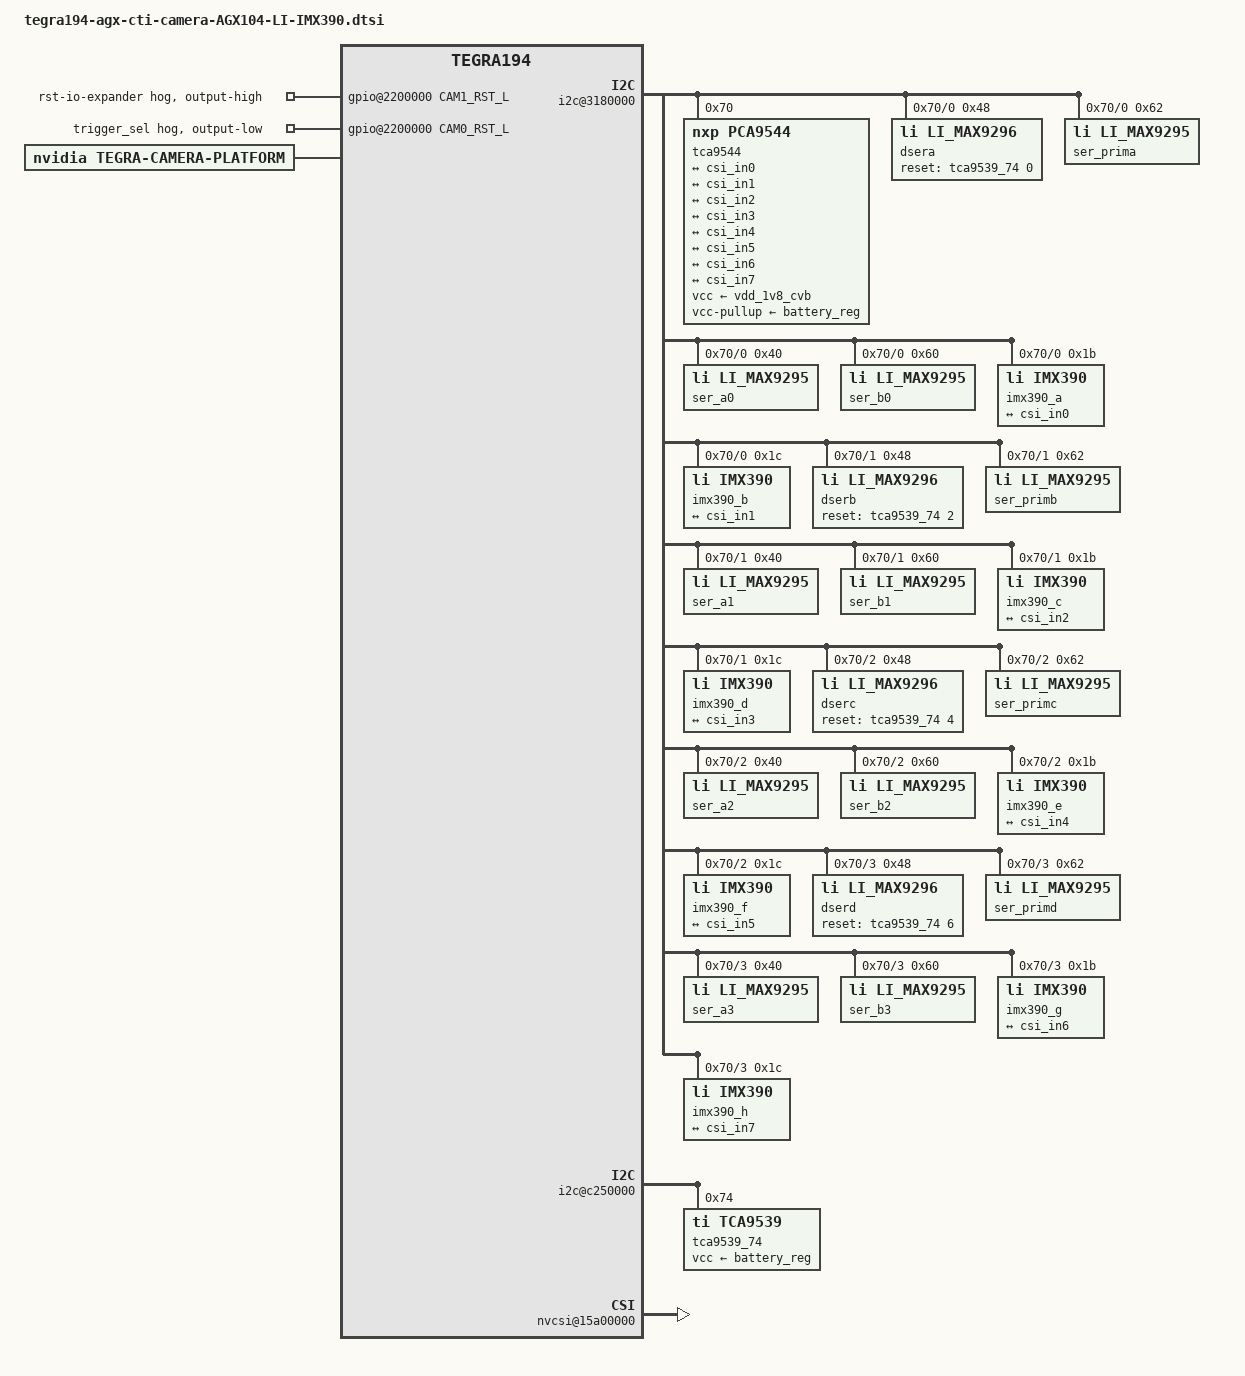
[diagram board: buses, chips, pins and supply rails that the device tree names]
/*
 * Copyright (c) 2018, NVIDIA CORPORATION.  All rights reserved.
 *
 * This program is free software; you can redistribute it and/or modify
 * it under the terms of the GNU General Public License as published by
 * the Free Software Foundation; either version 2 of the License, or
 * (at your option) any later version.
 *
 * This program is distributed in the hope that it will be useful, but WITHOUT
 * ANY WARRANTY; without even the implied warranty of MERCHANTABILITY or
 * FITNESS FOR A PARTICULAR PURPOSE.  See the GNU General Public License for
 * more details.
 *
 * You should have received a copy of the GNU General Public License
 * along with this program.  If not, see <http://www.gnu.org/licenses/>.
 */

#include "dt-bindings/clock/tegra194-clock.h"

#define CAM0_RST_L	TEGRA194_MAIN_GPIO(H, 3)
#define CAM1_RST_L	TEGRA194_MAIN_GPIO(T, 6)

#define CAMERA_I2C_MUX_BUS(x) (0x1E + x)
#define CAM_LANES 4
#define CAM_LANES_STRING "4" 
#define TEGRA_SINTERFACE "serial_g"
#define MODE_VC "0"
#define SERDES_PIX_CLK_HZ "480000000" 
//"590000000"

                                        
#define IMX390_MODE0 \
		mclk_khz = "24000"; \
		discontinuous_clk = "no"; \
		dpcm_enable = "false"; \
		cil_settletime = "0"; \
		dynamic_pixel_bit_depth = "12"; \
		csi_pixel_bit_depth = "12"; \
		mode_type = "bayer"; \
		pixel_phase = "rggb"; \
		active_w = "1920"; \
		active_h = "1080"; \
		readout_orientation = "0"; \
		line_length = "2200"; \
		inherent_gain = "1"; \
		pix_clk_hz = "74250000"; \
		serdes_pix_clk_hz = SERDES_PIX_CLK_HZ; \
		gain_factor = "10"; \
		min_gain_val = "0";  \
		max_gain_val = "300"; \
		step_gain_val = "3"; \
		default_gain = "0"; \
		min_hdr_ratio = "1"; \
		max_hdr_ratio = "1"; \
		framerate_factor = "1000000"; \
		min_framerate = "30000000"; \
		max_framerate = "30000000"; \
		step_framerate = "1"; \
		default_framerate = "30000000"; \
		exposure_factor = "1000000"; \
		min_exp_time = "118"; \
		max_exp_time = "33333"; \
		step_exp_time = "1"; \
		default_exp_time = "33333"; \
		embedded_metadata_height = "0"; \

/ {
	gpio@2200000 {
		camera-control-output-high {
			status = "okay";
			gpio-hog;
			gpios = <CAM1_RST_L 0>;
			output-high;
			label = "rst-io-expander"; 
		};
		camera-control-output-low {
			status = "okay";
			gpio-hog;
			gpios = <CAM0_RST_L 0>;
			output-low;
			label = "trigger_sel";
		};
	};

	i2c@3180000 {
		status = "okay";
		#address-cells = <1>;
		#size-cells = <0>;
        
		tca9544@70 {
	    	status = "okay";
	    	compatible = "nxp,pca9544";
	    	reg = <0x70>;
	    	#address-cells = <1>;
	    	#size-cells = <0>;
	    	vcc-supply = <&vdd_1v8_cvb>;
	    	vcc-pullup-supply = <&battery_reg>;
	    	vcc_lp = "vcc";
	    	skip_mux_detect = "yes";
	    	force_bus_start = <40>;
        	i2c@0 {
        	    status = "okay";
				reg = <0>;
				i2c-mux,deselect-on-exit;
				#address-cells = <1>;
				#size-cells = <0>;

				dsera: li_max9296@48 {
					compatible = "li,li_max9296";
					reg = <0x48>;
					csi-mode = "2x4";
					max-src = <2>;
					status = "okay";
					reset-gpios = <&tca9539_74 0 GPIO_ACTIVE_HIGH>;
					//reset-gpios
				};
				ser_prima: li_max9295_prim@62 {
					compatible = "li,li_max9295";
					reg = <0x62>;
					is-prim-ser;
					status = "okay";
				};
				ser_a0: li_max9295_a@40 {
					compatible = "li,li_max9295";
					reg = <0x40>;
					nvidia,gmsl-dser-device = <&dsera>;
					status = "okay";
				};

				ser_b0: li_max9295_b@60 {
					compatible = "li,li_max9295";
					reg = <0x60>;
					nvidia,gmsl-dser-device = <&dsera>;
					status = "okay";
				};

				imx390_a@1b {
					def-addr = <0x21>;
					clocks = <&bpmp_clks TEGRA194_CLK_EXTPERIPH1>, <&bpmp_clks TEGRA194_CLK_EXTPERIPH1>;
					clock-names = "extperiph1", "pllp_grtba";
					mclk = "extperiph1";
					nvidia,gmsl-ser-device = <&ser_a0>;
					nvidia,gmsl-dser-device = <&dsera>;
					compatible = "li,imx390";
					reg = <0x1b>;
					reg_mux = <0>;

					physical_w = "15.0";
					physical_h = "12.5";
					sensor_model = "imx390";
					post_crop_frame_drop = "0";
					use_decibel_gain = "true";
					use_sensor_mode_id = "true";

					status = "okay";

					mode0 {
						IMX390_MODE0
						tegra_sinterface = "serial_a";
						num_lanes = "4";
						//mode_lanes = <4>;
						vc_id = "0";
					};

					ports {
						#address-cells = <1>;
						#size-cells = <0>;
						port@0{
							reg = <0>;
							cam_out0: endpoint {
								vc-id = <0>;
								port-index = <6>;
								bus-width = <CAM_LANES>;
								remote-endpoint = <&csi_in0>;

							};
						};
					};
					gmsl-link {
						src-csi-port = "b";
						dst-csi-port = "a";
						serdes-csi-link = "a";
						csi-mode = "1x4";
						st-vc = <0>;
						vc-id = <0>;
						num-lanes = <CAM_LANES>;
						streams = "ued-u1","raw12";

					};
				};

				imx390_b@1c {
					def-addr = <0x21>;
					clocks = <&bpmp_clks TEGRA194_CLK_EXTPERIPH1>, <&bpmp_clks TEGRA194_CLK_EXTPERIPH1>;
					clock-names = "extperiph1", "pllp_grtba";
					mclk = "extperiph1";
					compatible = "li,imx390";
					nvidia,gmsl-ser-device = <&ser_b0>;
					nvidia,gmsl-dser-device = <&dsera>;
					reg = <0x1c>;
					reg_mux = <0>;

					physical_w = "15.0";
					physical_h = "12.5";
					sensor_model = "imx390";
					post_crop_frame_drop = "0";
					use_decibel_gain = "true";
					use_sensor_mode_id = "true";

					status = "okay";
					mode0 {
						IMX390_MODE0
						tegra_sinterface = "serial_a";
						num_lanes = "4";
						//mode_lanes = <4>;
						vc_id = "1";
					};
					ports {
						#address-cells = <1>;
						#size-cells = <0>;
						port@0{
							reg = <0>;
							cam_out1: endpoint {
								vc-id = <0>;
								port-index = <6>;
								bus-width = <CAM_LANES>;
								remote-endpoint = <&csi_in1>;

							};
						};
					};
					gmsl-link {
						src-csi-port = "b";
						dst-csi-port = "a";
						serdes-csi-link = "b";
						csi-mode = "1x4";
						st-vc = <0>;
						vc-id = <1>;
						num-lanes = <CAM_LANES>;
						streams = "ued-u1","raw12";

					};
				};
        	};

	    	i2c@1 {
				status = "okay";
				reg = <1>;
				i2c-mux,deselect-on-exit;
				#address-cells = <1>;
				#size-cells = <0>;
				dserb: li_max9296@48 {
					compatible = "li,li_max9296";
					reg = <0x48>;
					csi-mode = "2x4";
					max-src = <2>;
					status = "okay";
					reset-gpios = <&tca9539_74 2 GPIO_ACTIVE_HIGH>;
				};
				ser_primb: li_max9295_prim@62 {
					compatible = "li,li_max9295";
					reg = <0x62>;
					is-prim-ser;
					status = "okay";
				};
				ser_a1: li_max9295_a@40 {
					compatible = "li,li_max9295";
					reg = <0x40>;
					nvidia,gmsl-dser-device = <&dserb>;
					status = "okay";
				};

				ser_b1: li_max9295_b@60 {
					compatible = "li,li_max9295";
					reg = <0x60>;
					nvidia,gmsl-dser-device = <&dserb>;
					status = "okay";
				};

				imx390_c@1b {
					def-addr = <0x21>;
					clocks = <&bpmp_clks TEGRA194_CLK_EXTPERIPH1>, <&bpmp_clks TEGRA194_CLK_EXTPERIPH1>;
					clock-names = "extperiph1", "pllp_grtba";
					mclk = "extperiph1";
					nvidia,gmsl-ser-device = <&ser_a1>;
					nvidia,gmsl-dser-device = <&dserb>;
					compatible = "li,imx390";
					reg = <0x1b>;
					reg_mux = <1>;

					physical_w = "15.0";
					physical_h = "12.5";
					sensor_model = "imx390";
					post_crop_frame_drop = "0";
					use_decibel_gain = "true";
					use_sensor_mode_id = "true";

					status = "okay";

					mode0 {
						IMX390_MODE0
						tegra_sinterface = "serial_c";
						num_lanes = "4";
						//mode_lanes = <4>;
						vc_id = "0";
					};

					ports {
						#address-cells = <1>;
						#size-cells = <0>;
						port@0{
							reg = <0>;
							cam_out2: endpoint {
								vc-id = <0>;
								port-index = <4>;
								bus-width = <CAM_LANES>;
								remote-endpoint = <&csi_in2>;

							};
						};
					};
					gmsl-link {
						src-csi-port = "b";
						dst-csi-port = "a";
						serdes-csi-link = "a";
						csi-mode = "1x4";
						st-vc = <0>;
						vc-id = <0>;
						num-lanes = <CAM_LANES>;
						streams = "ued-u1","raw12";

					};
				};

				imx390_d@1c {
					def-addr = <0x21>;
					clocks = <&bpmp_clks TEGRA194_CLK_EXTPERIPH1>, <&bpmp_clks TEGRA194_CLK_EXTPERIPH1>;
					clock-names = "extperiph1", "pllp_grtba";
					mclk = "extperiph1";
					compatible = "li,imx390";
					nvidia,gmsl-ser-device = <&ser_b1>;
					nvidia,gmsl-dser-device = <&dserb>;
					reg = <0x1c>;
					reg_mux = <1>;

					physical_w = "15.0";
					physical_h = "12.5";
					sensor_model = "imx390";
					post_crop_frame_drop = "0";
					use_decibel_gain = "true";
					use_sensor_mode_id = "true";

					status = "okay";
					mode0 {
						IMX390_MODE0
						tegra_sinterface = "serial_c";
						num_lanes = "4";
						//mode_lanes = <4>;
						vc_id = "1";
					};
					ports {
						#address-cells = <1>;
						#size-cells = <0>;
						port@0{
							reg = <0>;
							cam_out3: endpoint {
								vc-id = <1>;
								port-index = <4>;
								bus-width = <CAM_LANES>;
								remote-endpoint = <&csi_in3>;

							};
						};
					};
					gmsl-link {
						src-csi-port = "b";
						dst-csi-port = "a";
						serdes-csi-link = "b";
						csi-mode = "1x4";
						st-vc = <0>;
						vc-id = <1>;
						num-lanes = <CAM_LANES>;
						streams = "ued-u1","raw12";

					};
				};
	    	};


        	i2c@2 {
        	    status = "okay";
        	    reg = <2>;
				i2c-mux,deselect-on-exit;
				#address-cells = <1>;
				#size-cells = <0>;

				dserc: li_max9296@48 {
					compatible = "li,li_max9296";
					reg = <0x48>;
					csi-mode = "2x4";
					max-src = <2>;
					status = "okay";
					reset-gpios = <&tca9539_74 4 GPIO_ACTIVE_HIGH>;
				};
				ser_primc: li_max9295_prim@62 {
					compatible = "li,li_max9295";
					reg = <0x62>;
					is-prim-ser;
					status = "okay";
				};
				ser_a2: li_max9295_a@40 {
					compatible = "li,li_max9295";
					reg = <0x40>;
					nvidia,gmsl-dser-device = <&dserc>;
					status = "okay";
				};

				ser_b2: li_max9295_b@60 {
					compatible = "li,li_max9295";
					reg = <0x60>;
					nvidia,gmsl-dser-device = <&dserc>;
					status = "okay";
				};

				imx390_e@1b {
					def-addr = <0x21>;
					clocks = <&bpmp_clks TEGRA194_CLK_EXTPERIPH1>, <&bpmp_clks TEGRA194_CLK_EXTPERIPH1>;
					clock-names = "extperiph1", "pllp_grtba";
					mclk = "extperiph1";
					nvidia,gmsl-ser-device = <&ser_a2>;
					nvidia,gmsl-dser-device = <&dserc>;
					compatible = "li,imx390";
					reg = <0x1b>;
					reg_mux = <2>;

					physical_w = "15.0";
					physical_h = "12.5";
					sensor_model = "imx390";
					post_crop_frame_drop = "0";
					use_decibel_gain = "true";
					use_sensor_mode_id = "true";

					status = "okay";

					mode0 {
						IMX390_MODE0
						tegra_sinterface = "serial_e";
						num_lanes = "4";
						//mode_lanes = <4>;
						vc_id = "0";
					};

					ports {
						#address-cells = <1>;
						#size-cells = <0>;
						port@0{
							reg = <0>;
							cam_out4: endpoint {
								vc-id = <0>;
								port-index = <2>;
								bus-width = <CAM_LANES>;
								remote-endpoint = <&csi_in4>;

							};
						};
					};
					gmsl-link {
						src-csi-port = "b";
						dst-csi-port = "a";
						serdes-csi-link = "a";
						csi-mode = "1x4";
						st-vc = <0>;
						vc-id = <0>;
						num-lanes = <CAM_LANES>;
						streams = "ued-u1","raw12";

					};
				};

				imx390_f@1c {
					def-addr = <0x21>;
					clocks = <&bpmp_clks TEGRA194_CLK_EXTPERIPH1>, <&bpmp_clks TEGRA194_CLK_EXTPERIPH1>;
					clock-names = "extperiph1", "pllp_grtba";
					mclk = "extperiph1";
					compatible = "li,imx390";
					nvidia,gmsl-ser-device = <&ser_b2>;
					nvidia,gmsl-dser-device = <&dserc>;
					reg = <0x1c>;
					reg_mux = <2>;

					physical_w = "15.0";
					physical_h = "12.5";
					sensor_model = "imx390";
					post_crop_frame_drop = "0";
					use_decibel_gain = "true";
					use_sensor_mode_id = "true";

					status = "okay";
					mode0 {
						IMX390_MODE0
						tegra_sinterface = "serial_e";
						num_lanes = "4";
						//mode_lanes = <4>;
						vc_id = "1";
					};
					ports {
						#address-cells = <1>;
						#size-cells = <0>;
						port@0{
							reg = <0>;
							cam_out5: endpoint {
								vc-id = <1>;
								port-index = <2>;
								bus-width = <CAM_LANES>;
								remote-endpoint = <&csi_in5>;

							};
						};
					};
					gmsl-link {
						src-csi-port = "b";
						dst-csi-port = "a";
						serdes-csi-link = "b";
						csi-mode = "1x4";
						st-vc = <0>;
						vc-id = <1>;
						num-lanes = <CAM_LANES>;
						streams = "ued-u1","raw12";

					};
				};
        	};
	
        	i2c@3 {
        	    status = "okay";
				reg = <3>;
				i2c-mux,deselect-on-exit;
				#address-cells = <1>;
				#size-cells = <0>;
				dserd: li_max9296@48 {
					compatible = "li,li_max9296";
					reg = <0x48>;
					csi-mode = "2x4";
					max-src = <2>;
					status = "okay";
					reset-gpios = <&tca9539_74 6 GPIO_ACTIVE_HIGH>;
				};
				ser_primd: li_max9295_prim@62 {
					compatible = "li,li_max9295";
					reg = <0x62>;
					is-prim-ser;
					status = "okay";
				};
				ser_a3: li_max9295_a@40 {
					compatible = "li,li_max9295";
					reg = <0x40>;
					nvidia,gmsl-dser-device = <&dserd>;
					status = "okay";
				};

				ser_b3: li_max9295_b@60 {
					compatible = "li,li_max9295";
					reg = <0x60>;
					nvidia,gmsl-dser-device = <&dserd>;
					status = "okay";
				};

				imx390_g@1b {
					def-addr = <0x21>;
					clocks = <&bpmp_clks TEGRA194_CLK_EXTPERIPH1>, <&bpmp_clks TEGRA194_CLK_EXTPERIPH1>;
					clock-names = "extperiph1", "pllp_grtba";
					mclk = "extperiph1";
					nvidia,gmsl-ser-device = <&ser_a3>;
					nvidia,gmsl-dser-device = <&dserd>;
					compatible = "li,imx390";
					reg = <0x1b>;
					reg_mux = <3>;

					physical_w = "15.0";
					physical_h = "12.5";
					sensor_model = "imx390";
					post_crop_frame_drop = "0";
					use_decibel_gain = "true";
					use_sensor_mode_id = "true";

					status = "okay";

					mode0 {
						IMX390_MODE0
						tegra_sinterface = "serial_g";
						num_lanes = "4";
						//mode_lanes = <4>;
						vc_id = "0";
					};

					ports {
						#address-cells = <1>;
						#size-cells = <0>;
						port@0{
							reg = <0>;
							cam_out6: endpoint {
								vc-id = <0>;
								port-index = <0>;
								bus-width = <CAM_LANES>;
								remote-endpoint = <&csi_in6>;

							};
						};
					};
					gmsl-link {
						src-csi-port = "b";
						dst-csi-port = "a";
						serdes-csi-link = "a";
						csi-mode = "1x4";
						st-vc = <0>;
						vc-id = <0>;
						num-lanes = <CAM_LANES>;
						streams = "ued-u1","raw12";

					};
				};

				imx390_h@1c {
					def-addr = <0x21>;
					clocks = <&bpmp_clks TEGRA194_CLK_EXTPERIPH1>, <&bpmp_clks TEGRA194_CLK_EXTPERIPH1>;
					clock-names = "extperiph1", "pllp_grtba";
					mclk = "extperiph1";
					compatible = "li,imx390";
					nvidia,gmsl-ser-device = <&ser_b3>;
					nvidia,gmsl-dser-device = <&dserd>;
					reg = <0x1c>;
					reg_mux = <3>;

					physical_w = "15.0";
					physical_h = "12.5";
					sensor_model = "imx390";
					post_crop_frame_drop = "0";
					use_decibel_gain = "true";
					use_sensor_mode_id = "true";

					status = "okay";
					mode0 {
						IMX390_MODE0
						tegra_sinterface = "serial_g";
						num_lanes = "4";
						//mode_lanes = <4>;
						vc_id = "1";
					};
					ports {
						#address-cells = <1>;
						#size-cells = <0>;
						port@0{
							reg = <0>;
							cam_out7: endpoint {
								vc-id = <1>;
								port-index = <0>;
								bus-width = <CAM_LANES>;
								remote-endpoint = <&csi_in7>;

							};
						};
					};
					gmsl-link {
						src-csi-port = "b";
						dst-csi-port = "a";
						serdes-csi-link = "b";
						csi-mode = "1x4";
						st-vc = <0>;
						vc-id = <1>;
						num-lanes = <CAM_LANES>;
						streams = "ued-u1","raw12";
					};
				};			
        	};
        };
    };

    i2c@c250000 {
		status = "okay";
		#address-cells = <1>;
		#size-cells = <0>;
		tca9539_74: tca9539@74 {
			compatible = "ti,tca9539";
			gpio-controller;
			#gpio-cells = <2>;
			ngpios = <16>;
			reg = <0x74>;
			vcc-supply = <&battery_reg>;
			status = "okay";
			
			tca9539_74_outlow {
				status = "okay";
				gpio-hog;
				gpios = <0 0 1 0 2 0 3 0 4 0 5 0 6 0 7 0 8 0 9 0 10 0 11 0 12 0 13 0>;
				output-low;
				label = "RST_A","PWDN_A","RST_B","PWDN_B","RST_C","PWDN_C","RST_D","PWDN_D";
			};
			tca9539_74_outhigh {
				status = "disabled";
			};
			tca9539_74_input {
				status = "disabled";
			};
		};
	};
    tegra-capture-vi {
        status = "okay";
        num-channels = <8>;
        ports {
	    #address-cells = <1>;
	    #size-cells = <0>;
	    status = "okay";
            port@0 {
			reg = <0>;
                status = "okay";
                vi_in0: endpoint {
		    	vc-id = <0>;
                    port-index = <0>;
                    status = "okay";
                    bus-width = <CAM_LANES>;
		    		remote-endpoint = <&csi_out0>;
                };
            };
            port@1 {
                status = "okay";
				reg = <1>;
                vi_in1: endpoint {
		    	vc-id = <1>;
                    port-index = <0>;
                    status = "okay";
                    bus-width = <CAM_LANES>;
		    		remote-endpoint = <&csi_out1>;
                };
            };
	    	port@2 {
				status = "okay";
				reg = <2>;
				vi_in2: endpoint {
					vc-id = <0>;
					port-index = <2>;
					bus-width = <CAM_LANES>;
					remote-endpoint = <&csi_out2>;
					status = "okay";
				};
	    	};
	    	port@3{
				status = "okay";
				reg = <3>;
				vi_in3: endpoint {
					vc-id = <1>;
					port-index = <2>;
					bus-width = <CAM_LANES>;
					remote-endpoint = <&csi_out3>;
					status = "okay";
				};
	    	};
	    	port@4 {
				status = "okay";
				reg = <4>;
				vi_in4: endpoint {
					vc-id = <0>;
					port-index = <4>;
					bus-width = <CAM_LANES>;
					remote-endpoint = <&csi_out4>;
					status = "okay";
				};
	    	};
	    	port@5 {
				status = "okay";
				reg = <5>;
				vi_in5: endpoint {
					vc-id = <1>;
					port-index = <4>;
					bus-width = <CAM_LANES>;
					remote-endpoint = <&csi_out5>;
					status = "okay";
				};
	    	};
            port@6 {
                status = "okay";
				reg = <6>;
                vi_in6: endpoint {
                    port-index = <5>;
                    status = "okay";
                    bus-width = <CAM_LANES>;
		    		vc-id = <0>;
		    		remote-endpoint = <&csi_out6>;
                };
            };
            port@7 {
                status = "okay";
				reg = <7>;
                vi_in7: endpoint {
                    port-index = <5>;
                    status = "okay";
                    bus-width = <CAM_LANES>;
		    		vc-id = <1>;
		    		remote-endpoint = <&csi_out7>;
                };
            };
        };
    };

    host1x@13e00000 {
        nvcsi@15a00000 {
	    	num-channels = <8>;
	    	#address-cells = <1>;
	    	#size-cells = <0>;
            status = "okay";
            channel@0 {
            	status = "okay";
				reg = <0>;
            	ports {
		    		#address-cells = <1>;
		    		#size-cells = <0>;
                    port@0 {
                    	status = "okay";
						reg = <0>;
                    	csi_in0: endpoint@0 {
                    	    status = "okay";
                    	    port-index = <0>;
			    			vc-id = <0>;
			    			bus-width = <CAM_LANES>;
                    	    remote-endpoint = <&cam_out0>;
                    	};
                	};
                    port@1 {
                        status = "okay";
						reg = <1>;
                        csi_out0: endpoint@1 {
                            status = "okay";
			    			port-index = <0>;
			    			vc-id = <0>;
			    			bus-width = <CAM_LANES>;
			    			remote-endpoint = <&vi_in0>;
                        };
                    };
                };
            };
            channel@1 {
                status = "okay";
				reg = <1>;
                ports {
		    		#address-cells = <1>;
		    		#size-cells = <0>;
                    
		    		port@0 {
						reg = <0>;
                        status = "okay";
                        csi_in1: endpoint@2 {
                            status = "okay";
			    			port-index = <0>;
			    			vc-id = <1>;
                            bus-width = <CAM_LANES>;
                            remote-endpoint = <&cam_out1>;
                        };
                    };
                    port@1 {
                        status = "okay";
						reg = <1>;
                        csi_out1: endpoint@3 {
                            status = "okay";
			    			port-index = <0>;
			    			vc-id = <1>;
			    			bus-width = <CAM_LANES>;
			    			remote-endpoint = <&vi_in1>;
                        };
                    };
                };
            };
	    	channel@2 {
                status = "okay";
				reg = <2>;
                ports {
		    		#address-cells = <1>;
		   			#size-cells = <0>;
                    port@0 {
                        status = "okay";
						reg = <0>;
                        csi_in2: endpoint@4 {
                            status = "okay";
                            port-index = <2>;
			    			bus-width = <CAM_LANES>;
                            remote-endpoint = <&cam_out2>;
                        };
                    };
                    port@1 {
                        status = "okay";
						reg = <1>;
                        csi_out2: endpoint@5 {
                            status = "okay";
			    			port-index = <2>;
			    			bus-width = <CAM_LANES>;
			    			remote-endpoint = <&vi_in2>;
                        };
                    };
                };
            };
            channel@3 {
                status = "okay";
				reg = <3>;
                ports {
		    		#address-cells = <1>;
		    		#size-cells = <0>;
                    
		    		port@0 {
						reg = <0>;
                        status = "okay";
                        csi_in3: endpoint@6 {
                            status = "okay";
			    			port-index = <2>;
                            bus-width = <CAM_LANES>;
                            remote-endpoint = <&cam_out3>;
                        };
                    };
                    port@1 {
                        status = "okay";
						reg = <1>;
                        csi_out3: endpoint@7 {
                            status = "okay";
			    			port-index = <2>;
			    			bus-width = <CAM_LANES>;
			    			remote-endpoint = <&vi_in3>;
                        };
                    };
                };
            };
	    	channel@4 {
                status = "okay";
				reg = <4>;
                ports {
		    		#address-cells = <1>;
		    		#size-cells = <0>;
                    port@0 {
                        status = "okay";
						reg = <0>;
                        csi_in4: endpoint@8 {
                            status = "okay";
                            port-index = <4>;
			    			bus-width = <CAM_LANES>;
                            remote-endpoint = <&cam_out4>;
                        };
                    };
                    port@1 {
                        status = "okay";
						reg = <1>;
                        csi_out4: endpoint@9 {
                            status = "okay";
			    			port-index = <4>;
			    			bus-width = <CAM_LANES>;
			    			remote-endpoint = <&vi_in4>;
                        };
                    };
                };
            };
            channel@5 {
                status = "okay";
				reg = <5>;
                ports {
		    		#address-cells = <1>;
		    		#size-cells = <0>;
                    
		    		port@0 {
						reg = <0>;
                        status = "okay";
                        csi_in5: endpoint@10 {
                            status = "okay";
			    			port-index = <4>;
                            bus-width = <CAM_LANES>;
                            remote-endpoint = <&cam_out5>;
                        };
                    };
                    port@1 {
                        status = "okay";
						reg = <1>;
                        csi_out5: endpoint@11 {
                            status = "okay";
			    			port-index = <4>;
			    			bus-width = <CAM_LANES>;
			    			remote-endpoint = <&vi_in5>;
                        };
                    };
                };
            };

            channel@6 {
                status = "okay";
				reg = <6>;
                ports {
		    		#address-cells = <1>;
		    		#size-cells = <0>;
                    port@0 {
						reg = <0>;
                        status = "okay";
                        csi_in6: endpoint@12 {
                            status = "okay";
                            bus-width = <CAM_LANES>;
			    			port-index = <6>;
			    			remote-endpoint = <&cam_out6>;
                        };
                    };
                    port@1 {
                        status = "okay";
                        reg = <1>;
							csi_out6: endpoint@13 {
                            status = "okay";
			    			remote-endpoint = <&vi_in6>;
                        };
                    };
                };
            };

            channel@7 {
                status = "okay";
				reg = <7>;
                ports {
		    #address-cells = <1>;
		    #size-cells = <0>;
                    port@0 {
						reg = <0>;
                        status = "okay";
                        csi_in7: endpoint@14 {
                            status = "okay";
                            bus-width = <CAM_LANES>;
			    			port-index = <6>;
			    			remote-endpoint = <&cam_out7>;
                        };
                    };
                    port@1 {
                        status = "okay";
						reg = <1>;
                        csi_out7: endpoint@15 {
                            status = "okay";
			    			remote-endpoint = <&vi_in7>;
                        };
                    };
                };
            };
        };
    };
};

/ {
    tegra-camera-platform {
		compatible = "nvidia, tegra-camera-platform";
		num_csi_lanes = <16>;
		max_lane_speed = <1500000>;
		min_bits_per_pixel = <8>;
		vi_peak_byte_per_pixel = <2>;
		vi_bw_margin_pct = <25>;
		max_pixel_rate = <160000>;
		isp_peak_byte_per_pixel = <5>;
		isp_bw_margin_pct = <25>;
        
		modules {
			status = "okay";
			module0 {
				status = "okay";
				badge = "imx390_bottomleft_liimx390";
				position = "bottomleft";
				orientation = "1";
				drivernode0 {
					status = "okay";
					pcl_id = "v4l2_sensor";
					devname = "li-nv_imx390 40-001b";
					proc-device-tree = "/proc/device-tree/i2c@3180000/tca9544@70/i2c@0/imx390_a@1b";
				};

			};
			module1 {
				status = "okay";
				badge = "imx390_bottomright_liimx390";
				position = "bottomright";
				orientation = "1";
				drivernode0 {
					status = "okay";
					pcl_id = "v4l2_sensor";
					devname = "li-nv_imx390 40-001c";
					proc-device-tree = "/proc/device-tree/i2c@3180000/tca9544@70/i2c@0/imx390_b@1c";
				};
			};
			module2 {
				status = "okay";
				badge = "imx390_topleft_liimx390";
				position = "topleft";
				orientation = "1";
				drivernode0 {
					status = "okay";
					pcl_id = "v4l2_sensor";
					devname = "li-nv_imx390 41-001b";
					proc-device-tree = "/proc/device-tree/i2c@3180000/tca9544@70/i2c@1/imx390_c@1b";
				};
			};
			module3 {
				status = "okay";
				badge = "imx390_topright_liimx390";
				position = "topright";
				orientation = "1";
				drivernode0 {
					status = "okay";
					pcl_id = "v4l2_sensor";
					devname = "li-nv_imx390 41-001c";
					proc-device-tree = "/proc/device-tree/i2c@3180000/tca9544@70/i2c@1/imx390_d@1c";
				};
			};
			module4 {
				status = "okay";
				badge = "imx390_centerleft_liimx390";
				position = "centerleft";
				orientation = "1";
				drivernode0 {
					status = "okay";
					pcl_id = "v4l2_sensor";
					devname = "li-nv_imx390 42-001b";
					proc-device-tree = "/proc/device-tree/i2c@3180000/tca9544@70/i2c@2/imx390_e@1b";
				};
			};
			module5 {
				status = "okay";
				badge = "imx390_centerright_liimx390";
				position = "centerright";
				orientation = "1";
				drivernode0 {
					status = "okay";
					pcl_id = "v4l2_sensor";
					devname = "li-nv_imx390 42-001c";
					proc-device-tree = "/proc/device-tree/i2c@3180000/tca9544@70/i2c@2/imx390_f@1c";
				};
			};
			module6 {
				status = "okay";
				badge = "imx390_front_liimx390";
				position = "front";
				orientation = "1";
				drivernode0 {
					status = "okay";
					pcl_id = "v4l2_sensor";
					devname = "li-nv_imx390 43-001b";
					proc-device-tree = "/proc/device-tree/i2c@3180000/tca9544@70/i2c@3/imx390_g@1b";
				};
			};
			module7 {
				status = "okay";
				badge = "imx390_back_liimx390";
				position = "back";
				orientation = "1";
				drivernode0 {
					status = "okay";
					pcl_id = "v4l2_sensor";
					devname = "li-nv_imx390 43-001c";
					proc-device-tree = "/proc/device-tree/i2c@3180000/tca9544@70/i2c@3/imx390_h@1c";
				};
			};
    	};
    };
};
